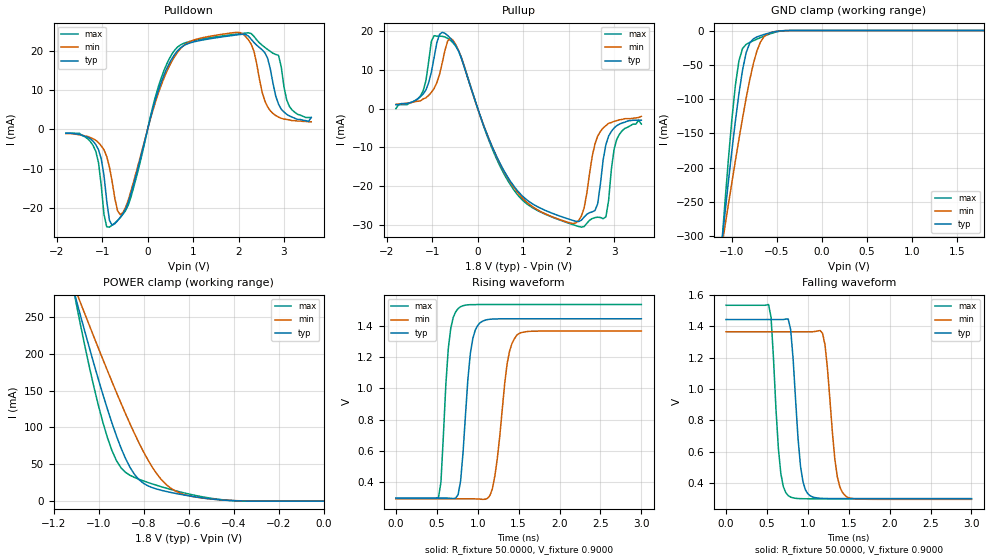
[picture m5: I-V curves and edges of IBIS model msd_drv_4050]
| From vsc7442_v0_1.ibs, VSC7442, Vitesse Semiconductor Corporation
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|   Model msd_drv_4050
[Model]  msd_drv_4050
Model_type I/O
Polarity   Non-Inverting
Enable   Active-High
Vinl =   0.6500V
Vinh =   1.1500V
Vmeas =  0.9000V
Cref =   0.0F
Rref =   50.0000
Vref =   0.9000V
C_comp   2.0000pF   1.8000pF   2.2000pF
[Temperature Range]   25.0000   0.1250k   -40.0000
[Pullup Reference]   1.8000V   1.7000V   1.9000V
[Pulldown Reference]   0.0V   0.0V   0.0V
[POWER Clamp Reference]   1.8000V   1.7000V   1.9000V
[GND Clamp Reference]   0.0V   0.0V   0.0V
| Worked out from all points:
|   slope of the pulldown table from 0 to 0.27 V, typ, clamps not added: 24.5 ohm
|   slope of the pullup table from 0 to 0.27 V, typ, clamps not added: 31.7 ohm
|   GND clamp passes 1 mA (typ) near -0.49 V on its own axis
|   POWER clamp passes 1 mA (typ) near -0.43 V on its own axis
|   rising waveform, R_fixture 50.0000, V_fixture 0.9000: 20-80 % time 98.1ps typ, 130ps min, 83.4ps max; typ from 0.3 V to 1.44 V
|   falling waveform, R_fixture 50.0000, V_fixture 0.9000: 20-80 % time 90.4ps typ, 106ps min, 84.1ps max; typ from 1.44 V to 0.3 V
[Pulldown]
|Voltage   I(typ)   I(min)   I(max)
-1.8V     -1mA       -1.1mA     -1mA
-1.08V    -5.2mA     -3.4mA     -8.5mA
-960mV    -11.7mA    -5.2mA     -21.6mA
-840mV    -23.12mA   -9.57mA    -24.86mA
-540mV    -21.39mA   -21.11mA   -21.55mA
300mV     12mA       11.24mA    13.06mA
720mV     20.66mA    20.44mA    21.42mA
2.28V     22.86mA    21.61mA    24.31mA
2.7V      15.33mA    4.7mA      19.78mA
2.94V     5.1mA      2.8mA      15.9mA
3.12V     3.4mA      2.4mA      5.8mA
3.6V      3mA        1.9mA      3mA
[Pullup]
|Voltage   I(typ)   I(min)   I(max)
-1.8V     1mA        1.1mA      0A
-1.2V     3.8mA      2.5mA      4.6mA
-1.02V    9.4mA      4.2mA      17.4mA
-840mV    19.18mA    8.86mA     18.72mA
-660mV    18.87mA    17.52mA    18.13mA
780mV     -19.79mA   -20.11mA   -20.77mA
2.1V      -28.92mA   -29.68mA   -30.01mA
2.34V     -28.05mA   -25.71mA   -30.48mA
2.7V      -19.39mA   -5.9mA     -28.14mA
2.82V     -9.3mA     -4.4mA     -27.97mA
3.06V     -4.4mA     -3.1mA     -7.9mA
3.6V      -3mA       -2mA       -4mA
[GND_clamp]
|Voltage   I(typ)   I(min)   I(max)
-1.8V     -1.192A    -912.8mA   -1.596A
-1.12V    -321.2mA   -323mA     -327.7mA
-1.08V    -271.8mA   -289.3mA   -258.1mA
-1V       -176.7mA   -222.7mA   -131.1mA
-960mV    -132.3mA   -190.2mA   -80mA
-920mV    -91.8mA    -158.4mA   -43.87mA
-880mV    -57.37mA   -127.7mA   -26.1mA
-840mV    -32.21mA   -98.53mA   -20.15mA
-760mV    -12.16mA   -48.22mA   -14.88mA
-680mV    -7.376mA   -16.43mA   -10.25mA
-520mV    -1.664mA   -1.581mA   -2.591mA
1.8V      2.447nA    789.8nA    215.6pA
[POWER_clamp]
|Voltage   I(typ)   I(min)   I(max)
-1.8V     1.099A     849.2mA    1.455A
-1.1V     274.1mA    284.7mA    269.5mA
-1.08V    251.5mA    269mA      238.9mA
-1V       164.6mA    207.1mA    129.2mA
-940mV    105.7mA    161.9mA    68.36mA
-900mV    72.1mA     132.8mA    45.22mA
-860mV    45.8mA     104.9mA    35.06mA
-800mV    24.13mA    66.93mA    27.39mA
-720mV    14.64mA    28.98mA    19.45mA
-620mV    8.313mA    9.03mA     11.21mA
-400mV    592.3uA    795.4uA    672uA
0V        2.446nA    50.91nA    311.5pA
[Ramp]
| variable   typ   min   max
dV/dt_r  0.6018/0.1105n   0.5794/0.1230n   0.6450/0.1019n
dV/dt_f  0.6287/0.1389n   0.6031/0.1490n   0.6568/0.1297n
R_load = 50.0000
[Rising Waveform]
R_fixture= 50.0000
V_fixture= 0.9000
V_fixture_min= 0.8500
V_fixture_max= 0.9500
|time   V(typ)   V(min)   V(max)
0s        300.1mV    295.4mV    298.9mV
520ps     300.1mV    295.4mV    303.6mV
640ps     299.8mV    295.4mV    1.252V
760ps     321.9mV    295.4mV    1.508V
910ps     1.223V     295.5mV    1.533V
1.03ns    1.418V     293.3mV    1.534V
1.18ns    1.441V     361.4mV    1.534V
1.36ns    1.443V     1.159V     1.534V
1.48ns    1.443V     1.341V     1.534V
3ns       1.443V     1.365V     1.534V
[Falling Waveform]
R_fixture= 50.0000
V_fixture= 0.9000
V_fixture_min= 0.8500
V_fixture_max= 0.9500
|time   V(typ)   V(min)   V(max)
0s        1.443V     1.365V     1.534V
520ps     1.443V     1.365V     1.539V
670ps     1.443V     1.365V     458.8mV
760ps     1.446V     1.365V     319.3mV
910ps     508mV      1.365V     299.7mV
1ns       330.5mV    1.365V     299mV
1.18ns    301.3mV    1.355V     298.9mV
1.33ns    300.2mV    550.7mV    298.9mV
1.45ns    300.1mV    322.6mV    298.9mV
3ns       300.1mV    295.4mV    298.9mV
